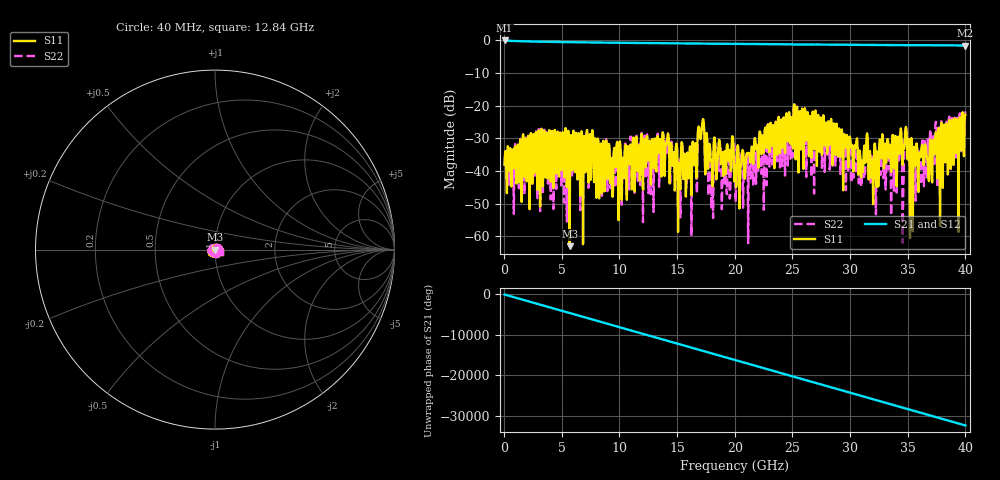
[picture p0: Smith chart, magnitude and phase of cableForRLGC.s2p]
# MHz MA S R 50.0
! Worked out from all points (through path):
!   1000 points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, 40 MHz to 40 GHz, reference 50 ohm
!   highest |S21| = -0.03 dB at 40 MHz (marker M1); lowest = -1.6 dB at 40 GHz (marker M2)
!   lowest |S11| = -63.1 dB at 5.68 GHz (marker M3), VSWR 1.00, Z = 50 + j0.0501 ohm
!   |S11| at or under -10 dB: start of sweep to end of sweep
!   |S22| runs from -62.1 to -19.6 dB; largest |S21 - S12| = 0.0033
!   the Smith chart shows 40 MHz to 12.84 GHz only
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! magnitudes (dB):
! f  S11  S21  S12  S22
! 40 MHz  -38.2  0.0  0.0  -38.3
! 5.68 GHz  -63.1  -0.5  -0.5  -50.1
! 6.72 GHz  -27.8  -0.6  -0.6  -28.9
! 13.36 GHz  -30.9  -0.9  -0.9  -30.8
! 16.12 GHz  -32.5  -1.0  -1.0  -35.0
! 17.12 GHz  -27.6  -1.0  -1.0  -27.2
! 17.92 GHz  -37.0  -1.0  -1.0  -38.3
! 18.4 GHz  -42.6  -1.0  -1.0  -38.7
! 19.08 GHz  -35.1  -1.1  -1.0  -42.4
! 20.04 GHz  -38.3  -1.1  -1.1  -41.0
! 21.2 GHz  -34.5  -1.1  -1.1  -39.0
! 25.28 GHz  -36.5  -1.2  -1.2  -27.6
! 26.68 GHz  -28.1  -1.3  -1.3  -29.3
! 29.4 GHz  -46.0  -1.3  -1.3  -34.1
! 31.08 GHz  -38.3  -1.4  -1.4  -40.2
! 31.52 GHz  -29.8  -1.4  -1.4  -31.8
! 31.8 GHz  -40.0  -1.4  -1.4  -42.7
! 33.36 GHz  -35.1  -1.4  -1.4  -38.4
! 34.92 GHz  -29.8  -1.5  -1.5  -31.4
! 35.36 GHz  -31.2  -1.5  -1.5  -32.4
! 36.92 GHz  -32.1  -1.5  -1.5  -29.4
! 40 GHz  -22.7  -1.6  -1.6  -22.3
